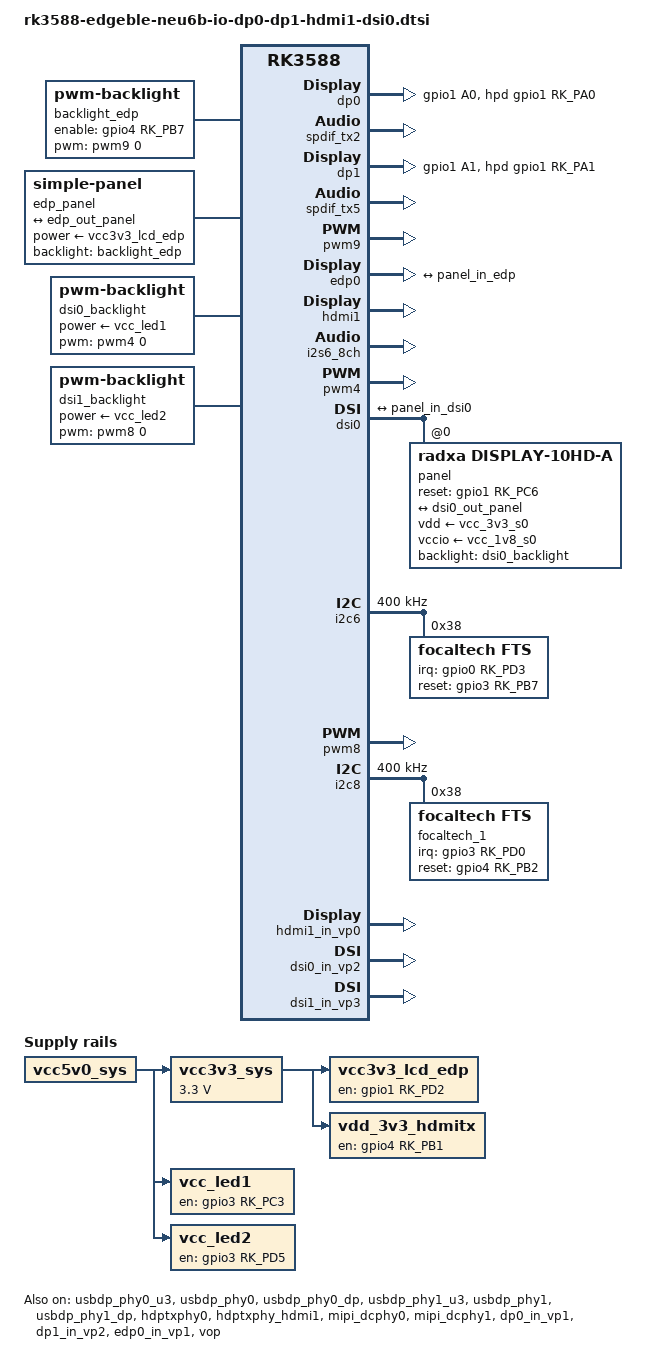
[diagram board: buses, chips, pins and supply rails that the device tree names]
// SPDX-License-Identifier: (GPL-2.0+ OR MIT)
/*
 * Copyright (c) 2023 Edgeble AI Technologies Pvt. Ltd.
 */

&usbdp_phy0_u3 {
	status = "okay";
};

&usbdp_phy0 {
	status = "okay";
};

/* DP0 */
/ {
	dp0_sound: dp0-sound {
		status = "okay";
		compatible = "rockchip,hdmi";
		rockchip,mclk-fs = <512>;
		rockchip,card-name= "rockchip,dp0";
		rockchip,cpu = <&spdif_tx2>;
		rockchip,codec = <&dp0 1>;
		rockchip,jack-det;
	};
};

&pinctrl {
	dp0 {
		dp0_hpd: dp0-hpd {
			rockchip,pins = <1 RK_PA0 RK_FUNC_GPIO &pcfg_pull_up>;
		};
	};
};

&dp0 {
	status = "okay";
	pinctrl-names = "default";
	pinctrl-0 = <&dp0_hpd>;
	hpd-gpios = <&gpio1 RK_PA0 GPIO_ACTIVE_HIGH>; /* DP1_HPDIN_M0 */
};

&spdif_tx2 {
	status = "okay";
};

&usbdp_phy0_dp {
	status = "okay";
};

&usbdp_phy0 {
	status = "okay";
	rockchip,dp-lane-mux = < 2 3 >;
};

&usbdp_phy1_u3 {
	status = "okay";
};

&usbdp_phy1 {
	status = "okay";
};

/* DP1 */
/ {
	dp1_sound: dp1-sound {
		status = "okay";
		compatible = "rockchip,hdmi";
		rockchip,card-name= "rockchip,dp1";
		rockchip,mclk-fs = <512>;
		rockchip,cpu = <&spdif_tx5>;
		rockchip,codec = <&dp1 1>;
		rockchip,jack-det;
	};
};

&pinctrl {
	dp1 {
		dp1_hpd: dp1-hpd {
			rockchip,pins = <1 RK_PA1 RK_FUNC_GPIO &pcfg_pull_up>;
		};
	};
};

&dp1 {
	status = "okay";
	pinctrl-names = "default";
	pinctrl-0 = <&dp1_hpd>;
	hpd-gpios = <&gpio1 RK_PA1 GPIO_ACTIVE_HIGH>; /* DP2_HPDIN_M0 */
};

&spdif_tx5 {
	status = "okay";
};

&usbdp_phy1_dp {
	status = "okay";
};

&usbdp_phy1 {
	status = "okay";
	rockchip,dp-lane-mux = < 2 3 >;
};

/* eDP0 */
/ {
	backlight_edp: backlight-edp {
		compatible = "pwm-backlight";
		pwms = <&pwm9 0 25000 0>;
		brightness-levels = <
			  0  20  20  21  21  22  22  23
			 23  24  24  25  25  26  26  27
			 27  28  28  29  29  30  30  31
			 31  32  32  33  33  34  34  35
			 35  36  36  37  37  38  38  39
			 40  41  42  43  44  45  46  47
			 48  49  50  51  52  53  54  55
			 56  57  58  59  60  61  62  63
			 64  65  66  67  68  69  70  71
			 72  73  74  75  76  77  78  79
			 80  81  82  83  84  85  86  87
			 88  89  90  91  92  93  94  95
			 96  97  98  99 100 101 102 103
			104 105 106 107 108 109 110 111
			112 113 114 115 116 117 118 119
			120 121 122 123 124 125 126 127
			128 129 130 131 132 133 134 135
			136 137 138 139 140 141 142 143
			144 145 146 147 148 149 150 151
			152 153 154 155 156 157 158 159
			160 161 162 163 164 165 166 167
			168 169 170 171 172 173 174 175
			176 177 178 179 180 181 182 183
			184 185 186 187 188 189 190 191
			192 193 194 195 196 197 198 199
			200 201 202 203 204 205 206 207
			208 209 210 211 212 213 214 215
			216 217 218 219 220 221 222 223
			224 225 226 227 228 229 230 231
			232 233 234 235 236 237 238 239
			240 241 242 243 244 245 246 247
			248 249 250 251 252 253 254 255
		>;
		default-brightness-level = <200>;
		enable-gpios = <&gpio4 RK_PB7 GPIO_ACTIVE_HIGH>; /* EDP_BL_EN */
	};

	vcc3v3_sys: vcc3v3-sys {
		compatible = "regulator-fixed";
		regulator-name = "vcc3v3_sys";
		regulator-always-on;
		regulator-boot-on;
		regulator-min-microvolt = <3300000>;
		regulator-max-microvolt = <3300000>;
		vin-supply = <&vcc5v0_sys>;
	};

	vcc3v3_lcd_edp: vcc3v3-lcd-edp {
		compatible = "regulator-fixed";
		gpio = <&gpio1 RK_PD2 GPIO_ACTIVE_HIGH>;
		enable-active-high;
		regulator-name = "vcc3v3_lcd_edp";
		regulator-boot-on;
		vin-supply = <&vcc3v3_sys>;
		regulator-state-mem {
			regulator-off-in-suspend;
		};
	};

	edp_panel: edp-panel {
		compatible = "simple-panel";
		backlight = <&backlight_edp>;
		power-supply = <&vcc3v3_lcd_edp>;
		pinctrl-names = "default";
		prepare-delay-ms = <100>;
		enable-delay-ms = <100>;
		bpc = <8>;
		width-mm = <305>;
		height-mm = <107>;
		display-timings {
			native-mode = <&timing0>;
			timing0: timing0 {
				clock-frequency = <241500000>;
				hactive = <2560>;
				vactive = <1440>;
				hfront-porch = <80>;
				hsync-len = <32>;
				hback-porch = <48>;
				vfront-porch = <31>;
				vsync-len = <5>;
				vback-porch = <3>;
				hsync-active = <0>;
				vsync-active = <0>;
				de-active = <0>;
				pixelclk-active = <0>;
			};
		};

		port {
			panel_in_edp: endpoint {
					remote-endpoint = <&edp_out_panel>;
			};
		};
	};
};

&pwm9 {
	status = "okay";
};

&edp0 {
	force-hpd;
//	status = "okay";

	ports {
		edp_out: port@1 {
			reg = <1>;
			#address-cells = <1>;
			#size-cells = <0>;

			edp_out_panel: endpoint@0 {
				reg = <0>;
				remote-endpoint = <&panel_in_edp>;
			};
		};
	};
};

&hdptxphy0 {
	status = "okay";
};

/* HDMI1 */
/ {
	hdmi1-sound {
		status = "okay";
		compatible = "rockchip,hdmi";
		rockchip,mclk-fs = <128>;
		rockchip,card-name = "rockchip-hdmi1";
		rockchip,cpu = <&i2s6_8ch>;
		rockchip,codec = <&hdmi1>;
		rockchip,jack-det;
	};

	vcc3v3_sys: vcc3v3-sys {
		compatible = "regulator-fixed";
		regulator-name = "vcc3v3_sys";
		regulator-always-on;
		regulator-boot-on;
		regulator-min-microvolt = <3300000>;
		regulator-max-microvolt = <3300000>;
		vin-supply = <&vcc5v0_sys>;
	};

	vdd_3v3_hdmitx: vdd-3v3-hdmitx-regulator {
		compatible = "regulator-fixed";
		regulator-name = "vdd_3v3_hdmitx";
		regulator-boot-on;
		regulator-always-on;
		enable-active-high;
		gpio = <&gpio4 RK_PB1 GPIO_ACTIVE_HIGH>;
		pinctrl-names = "default";
		pinctrl-0 = <&hdmi_tx_3v3_en>;
		vin-supply = <&vcc3v3_sys>;
	};
};

&pinctrl {
	hdmi1 {
		hdmi_tx_3v3_en: hdmi-tx-3v3-en {
			rockchip,pins = <4 RK_PB1 RK_FUNC_GPIO &pcfg_pull_up>;
		};
	};
};

&hdmi1 {
	status = "okay";
        cec-enable = "true";
};

&hdptxphy_hdmi1 {
	status = "okay";
};

&hdptxphy_hdmi_clk1 {
	status = "okay";
};

&display_subsystem {
	clocks = <&hdptxphy_hdmi_clk1>;
	clock-names = "hdmi1_phy_pll";
};

&i2s6_8ch {
	status = "okay";
};

/* DSI0 */
/ {
	vcc_led1: vcc-led1 {
		compatible = "regulator-fixed";
		regulator-name = "vcc_led1";
		gpio = <&gpio3 RK_PC3 GPIO_ACTIVE_HIGH>;
		enable-active-high;
		pinctrl-names = "default";
		pinctrl-0 = <&dsi0_backlight_en>; /* LCD1_BL_EN */
		regulator-always-on;
		regulator-boot-on;
		vin-supply = <&vcc5v0_sys>;
	};

	dsi0_backlight: dsi0-backlight {
		compatible = "pwm-backlight";
		pwms = <&pwm4 0 25000 0>;
		brightness-levels = <
			  0  20  20  21  21  22  22  23
			 23  24  24  25  25  26  26  27
			 27  28  28  29  29  30  30  31
			 31  32  32  33  33  34  34  35
			 35  36  36  37  37  38  38  39
			 40  41  42  43  44  45  46  47
			 48  49  50  51  52  53  54  55
			 56  57  58  59  60  61  62  63
			 64  65  66  67  68  69  70  71
			 72  73  74  75  76  77  78  79
			 80  81  82  83  84  85  86  87
			 88  89  90  91  92  93  94  95
			 96  97  98  99 100 101 102 103
			104 105 106 107 108 109 110 111
			112 113 114 115 116 117 118 119
			120 121 122 123 124 125 126 127
			128 129 130 131 132 133 134 135
			136 137 138 139 140 141 142 143
			144 145 146 147 148 149 150 151
			152 153 154 155 156 157 158 159
			160 161 162 163 164 165 166 167
			168 169 170 171 172 173 174 175
			176 177 178 179 180 181 182 183
			184 185 186 187 188 189 190 191
			192 193 194 195 196 197 198 199
			200 201 202 203 204 205 206 207
			208 209 210 211 212 213 214 215
			216 217 218 219 220 221 222 223
			224 225 226 227 228 229 230 231
			232 233 234 235 236 237 238 239
			240 241 242 243 244 245 246 247
			248 249 250 251 252 253 254 255
		>;
		default-brightness-level = <200>;
		power-supply = <&vcc_led1>;
	};
};

&pinctrl {
	backlight-0 {
		dsi0_backlight_en: dsi0-backlight-en {
			rockchip,pins = <3 RK_PC3 RK_FUNC_GPIO &pcfg_pull_up>;
		};
	};

	dsi0-lcd {
		dsi0_lcd_rst_gpio: dsi0-lcd-rst-gpio {
			rockchip,pins = <1 RK_PC6 RK_FUNC_GPIO &pcfg_pull_up>;
		};
	};

	focaltech {
		focaltech_gpio: focaltech-gpio {
			rockchip,pins =
					<3 RK_PB7 RK_FUNC_GPIO &pcfg_pull_none>,
					<0 RK_PD3 RK_FUNC_GPIO &pcfg_pull_up>;
		};
	};
};

&pwm4 {
	status = "okay";
	pinctrl-names = "active";
	pinctrl-0 = <&pwm4m0_pins>;
};

&dsi0 {
	status = "okay";
	rockchip,lane-rate = <480>;
	#address-cells = <1>;
	#size-cells = <0>;

	ports {
		#address-cells = <1>;
		#size-cells = <0>;

		port@1 {
			reg = <1>;

			dsi0_out_panel: endpoint {
				remote-endpoint = <&panel_in_dsi0>;
			};
		};
	};

	panel@0 {
		compatible = "radxa,display-10hd-a", "jadard,jd9365da-h3";
		reg = <0>;
		backlight = <&dsi0_backlight>;
		vdd-supply = <&vcc_3v3_s0>;
		vccio-supply = <&vcc_1v8_s0>;
		reset-gpios = <&gpio1 RK_PC6 GPIO_ACTIVE_HIGH>; /* LCD1_RESET */
		pinctrl-names = "default";
		pinctrl-0 = <&dsi0_lcd_rst_gpio>;

		port {
			panel_in_dsi0: endpoint {
				remote-endpoint = <&dsi0_out_panel>;
			};
		};
	};
};

&mipi_dcphy0 {
	status = "okay";
};

&i2c6 {
	status = "okay";
	pinctrl-names = "default";
	pinctrl-0 = <&i2c6m0_xfer>;
	clock-frequency = <400000>;
	#address-cells = <1>;
	#size-cells = <0>;

	focaltech: focaltech@38 {
		status = "okay";
		compatible = "focaltech,fts";
		reg = <0x38>;
		pinctrl-names = "default";
		pinctrl-0 = <&focaltech_gpio>;
		focaltech,irq-gpio = <&gpio0 RK_PD3 IRQ_TYPE_LEVEL_LOW>;
		focaltech,reset-gpio = <&gpio3 RK_PB7 GPIO_ACTIVE_HIGH>;
		focaltech,display-coords = <0 0 799 1279>;
	};
};

/* DSI1 */
/ {
	vcc_led2: vcc-led2 {
		compatible = "regulator-fixed";
		regulator-name = "vcc_led2";
		gpio = <&gpio3 RK_PD5 GPIO_ACTIVE_HIGH>;
		enable-active-high;
		pinctrl-names = "default";
		pinctrl-0 = <&dsi1_backlight_en>;
		regulator-always-on;
		regulator-boot-on;
		vin-supply = <&vcc5v0_sys>;
	};

	dsi1_backlight: dsi1-backlight {
		compatible = "pwm-backlight";
		pwms = <&pwm8 0 25000 0>;
		brightness-levels = <
			  0  20  20  21  21  22  22  23
			 23  24  24  25  25  26  26  27
			 27  28  28  29  29  30  30  31
			 31  32  32  33  33  34  34  35
			 35  36  36  37  37  38  38  39
			 40  41  42  43  44  45  46  47
			 48  49  50  51  52  53  54  55
			 56  57  58  59  60  61  62  63
			 64  65  66  67  68  69  70  71
			 72  73  74  75  76  77  78  79
			 80  81  82  83  84  85  86  87
			 88  89  90  91  92  93  94  95
			 96  97  98  99 100 101 102 103
			104 105 106 107 108 109 110 111
			112 113 114 115 116 117 118 119
			120 121 122 123 124 125 126 127
			128 129 130 131 132 133 134 135
			136 137 138 139 140 141 142 143
			144 145 146 147 148 149 150 151
			152 153 154 155 156 157 158 159
			160 161 162 163 164 165 166 167
			168 169 170 171 172 173 174 175
			176 177 178 179 180 181 182 183
			184 185 186 187 188 189 190 191
			192 193 194 195 196 197 198 199
			200 201 202 203 204 205 206 207
			208 209 210 211 212 213 214 215
			216 217 218 219 220 221 222 223
			224 225 226 227 228 229 230 231
			232 233 234 235 236 237 238 239
			240 241 242 243 244 245 246 247
			248 249 250 251 252 253 254 255
		>;
		default-brightness-level = <200>;
		power-supply = <&vcc_led2>;
	};
};

&pinctrl {
	backlight-1 {
		dsi1_backlight_en: dsi1-backlight-en {
			rockchip,pins = <3 RK_PD5 RK_FUNC_GPIO &pcfg_pull_up>;
		};
	};

	dsi1-lcd {
		dsi1_lcd_rst_gpio: dsi1-lcd-rst-gpio {
			rockchip,pins = <0 RK_PB2 RK_FUNC_GPIO &pcfg_pull_up>;
		};
	};

	focaltech-1 {
		focaltech_gpio_1: focaltech-gpio-1 {
			rockchip,pins =
					<4 RK_PB2 RK_FUNC_GPIO &pcfg_pull_none>,
					<3 RK_PD0 RK_FUNC_GPIO &pcfg_pull_up>;
		};
	};
};

&pwm8 {
	status = "okay";
	pinctrl-names = "active";
	pinctrl-0 = <&pwm8m0_pins>;
};

&dsi1 {
	status = "disabled";
	rockchip,lane-rate = <480>;
	#address-cells = <1>;
	#size-cells = <0>;

	ports {
		#address-cells = <1>;
		#size-cells = <0>;

		port@1 {
			reg = <1>;

			dsi1_out_panel: endpoint {
				remote-endpoint = <&panel_in_dsi1>;
			};
		};
	};

	panel@1 {
		compatible = "radxa,display-10hd-a", "jadard,jd9365da-h3";
		reg = <1>;
		backlight = <&dsi1_backlight>;
		vdd-supply = <&vcc_3v3_s0>;
		vccio-supply = <&vcc_1v8_s0>;
		reset-gpios = <&gpio0 RK_PB2 GPIO_ACTIVE_HIGH>;
		pinctrl-names = "default";
		pinctrl-0 = <&dsi1_lcd_rst_gpio>;

		port {
			panel_in_dsi1: endpoint {
				remote-endpoint = <&dsi1_out_panel>;
			};
		};
	};
};

&mipi_dcphy1 {
	status = "okay";
};

&i2c8 {
	status = "okay";
	pinctrl-names = "default";
	pinctrl-0 = <&i2c8m3_xfer>;
	clock-frequency = <400000>;
	#address-cells = <1>;
	#size-cells = <0>;

	focaltech_1: focaltech-1@38 {
		status = "okay";
		compatible = "focaltech,fts";
		reg = <0x38>;
		pinctrl-names = "default";
		pinctrl-0 = <&focaltech_gpio_1>;
		focaltech,irq-gpio = <&gpio3 RK_PD0 IRQ_TYPE_LEVEL_LOW>;
		focaltech,reset-gpio = <&gpio4 RK_PB2 GPIO_ACTIVE_HIGH>;
		focaltech,display-coords = <0 0 799 1279>;
	};
};

&display_subsystem {
	route {
		route_dp0: route-dp0 {
			status = "okay";
			force-output;
			connect = <&vp1_out_dp0>;
		};

		route_dp1: route-dp1 {
			status = "okay";
			force-output;
			connect = <&vp2_out_dp1>;
		};

		route_edp0: route-edp0 {
			status = "okay";
			connect = <&vp1_out_edp0>;
		};

		route_hdmi1: route-hdmi1 {
			status = "okay";
			connect = <&vp0_out_hdmi1>;
		};

		route_dsi0: route-dsi0 {
			status = "okay";
			connect = <&vp2_out_dsi0>;
		};

		route_dsi1: route-dsi1 {
			status = "okay";
			connect = <&vp3_out_dsi1>;
		};
	};
};

&dp0_in_vp0 {
	status = "disabled";
};

&dp0_in_vp1 {
	status = "okay";
};

&dp0_in_vp2 {
	status = "disabled";
};

&dp1_in_vp0 {
	status = "disabled";
};

&dp1_in_vp1 {
	status = "disabled";
};

&dp1_in_vp2 {
	status = "okay";
};

&edp0_in_vp0 {
	status = "disabled";
};

&edp0_in_vp1 {
	status = "okay";
};

&edp0_in_vp2 {
	status = "disabled";
};

&hdmi1_in_vp0 {
	status = "okay";
};

&hdmi1_in_vp1 {
	status = "disabled";
};

&hdmi1_in_vp2 {
	status = "disabled";
};

&dsi0_in_vp2 {
	status = "okay";
};

&dsi0_in_vp3 {
	status = "disabled";
};

&dsi1_in_vp2 {
	status = "disabled";
};

&dsi1_in_vp3 {
	status = "okay";
};

&vop {
	status = "okay";
};

&vop_mmu {
	status = "okay";
};

/* vp0 & vp1 splice for 8K output */
&vp0 {
	rockchip,plane-mask = <(1 << ROCKCHIP_VOP2_CLUSTER0 | 1 << ROCKCHIP_VOP2_ESMART0)>;
	rockchip,primary-plane = <ROCKCHIP_VOP2_CLUSTER0>;
	cursor-win-id = <ROCKCHIP_VOP2_ESMART0>;
};

&vp1 {
	rockchip,plane-mask = <(1 << ROCKCHIP_VOP2_CLUSTER1 | 1 << ROCKCHIP_VOP2_ESMART1)>;
	rockchip,primary-plane = <ROCKCHIP_VOP2_CLUSTER1>;
	cursor-win-id = <ROCKCHIP_VOP2_ESMART1>;
};

&vp2 {
	rockchip,plane-mask = <(1 << ROCKCHIP_VOP2_CLUSTER2 | 1 << ROCKCHIP_VOP2_ESMART2)>;
	rockchip,primary-plane = <ROCKCHIP_VOP2_CLUSTER2>;
	cursor-win-id = <ROCKCHIP_VOP2_ESMART2>;
};

&vp3 {
	rockchip,plane-mask = <(1 << ROCKCHIP_VOP2_CLUSTER3 | 1 << ROCKCHIP_VOP2_ESMART3)>;
	rockchip,primary-plane = <ROCKCHIP_VOP2_CLUSTER3>;
	cursor-win-id = <ROCKCHIP_VOP2_ESMART3>;
};
